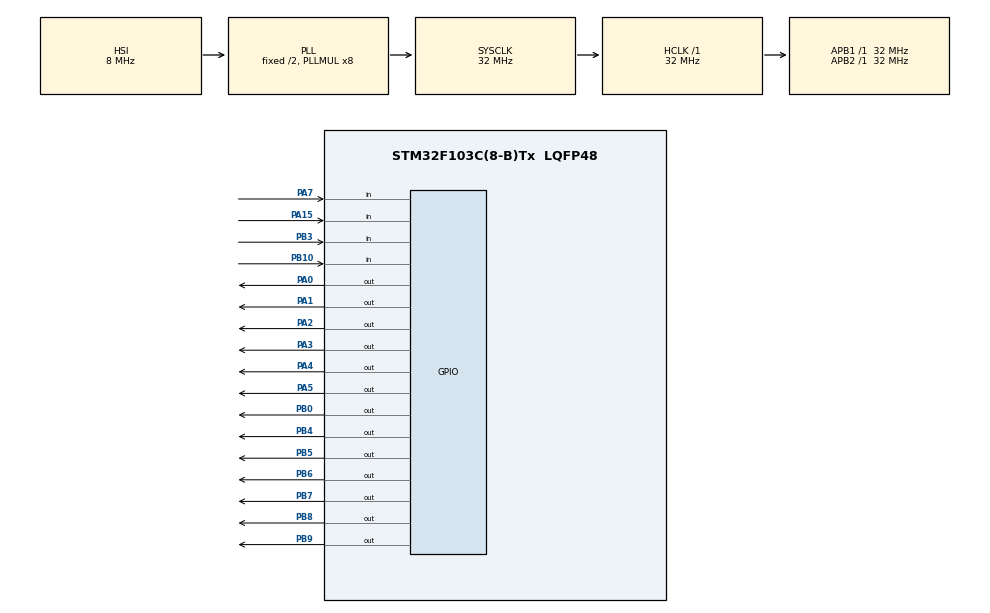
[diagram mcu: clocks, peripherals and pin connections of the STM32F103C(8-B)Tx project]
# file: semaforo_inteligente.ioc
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Mcu.Family=STM32F1
Mcu.Name=STM32F103C(8-B)Tx
Mcu.Package=LQFP48
NVIC.PriorityGroup=NVIC_PRIORITYGROUP_4
PA0-WKUP.Signal=GPIO_Output
PA1.Signal=GPIO_Output
PA13.Mode=Serial_Wire
PA13.Signal=SYS_JTMS-SWDIO
PA14.Mode=Serial_Wire
PA14.Signal=SYS_JTCK-SWCLK
PA15.GPIO_PuPd=GPIO_PULLDOWN
PA15.Signal=GPIO_Input
PA2.Signal=GPIO_Output
PA3.Signal=GPIO_Output
PA4.Signal=GPIO_Output
PA5.Signal=GPIO_Output
PA7.GPIO_PuPd=GPIO_PULLDOWN
PA7.Signal=GPIO_Input
PB0.GPIO_ModeDefaultOutputPP=GPIO_MODE_OUTPUT_OD
PB0.Signal=GPIO_Output
PB10.GPIO_PuPd=GPIO_PULLDOWN
PB10.Signal=GPIO_Input
PB3.GPIO_PuPd=GPIO_PULLDOWN
PB3.Signal=GPIO_Input
PB4.Signal=GPIO_Output
PB5.Signal=GPIO_Output
PB6.Signal=GPIO_Output
PB7.Signal=GPIO_Output
PB8.Signal=GPIO_Output
PB9.Signal=GPIO_Output
PD0-OSC_IN.Mode=HSE-External-Oscillator
PD0-OSC_IN.Signal=RCC_OSC_IN
PD1-OSC_OUT.Mode=HSE-External-Oscillator
PD1-OSC_OUT.Signal=RCC_OSC_OUT
ProjectManager.HeapSize=0x200
ProjectManager.StackSize=0x400
ProjectManager.TargetToolchain=TrueSTUDIO
RCC.AHBFreq_Value=32000000
RCC.APB1Freq_Value=32000000
RCC.APB1TimFreq_Value=32000000
RCC.APB2Freq_Value=32000000
RCC.APB2TimFreq_Value=32000000
RCC.HCLKFreq_Value=32000000
RCC.PLLMUL=RCC_PLL_MUL8
RCC.SYSCLKFreq_VALUE=32000000
RCC.SYSCLKSource=RCC_SYSCLKSOURCE_PLLCLK
RCC.USBFreq_Value=32000000
TIM2.Period=99
TIM2.Prescaler=31999
VP_TIM2_VS_ClockSourceINT.Mode=Internal
board=semaforo_inteligente

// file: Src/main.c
/**
  ******************************************************************************
  * File Name          : main.c
  * Description        : Main program body
  ******************************************************************************
  ** This notice applies to any and all portions of this file
  * that are not between comment pairs USER CODE BEGIN and
  * USER CODE END. Other portions of this file, whether
  * inserted by the user or by software development tools
  * are owned by their respective copyright owners.
  *
  * COPYRIGHT(c) 2017 STMicroelectronics
  *
  * Redistribution and use in source and binary forms, with or without modification,
  * are permitted provided that the following conditions are met:
  *   1. Redistributions of source code must retain the above copyright notice,
  *      this list of conditions and the following disclaimer.
  *   2. Redistributions in binary form must reproduce the above copyright notice,
  *      this list of conditions and the following disclaimer in the documentation
  *      and/or other materials provided with the distribution.
  *   3. Neither the name of STMicroelectronics nor the names of its contributors
  *      may be used to endorse or promote products derived from this software
  *      without specific prior written permission.
  *
  * THIS SOFTWARE IS PROVIDED BY THE COPYRIGHT HOLDERS AND CONTRIBUTORS "AS IS"
  * AND ANY EXPRESS OR IMPLIED WARRANTIES, INCLUDING, BUT NOT LIMITED TO, THE
  * IMPLIED WARRANTIES OF MERCHANTABILITY AND FITNESS FOR A PARTICULAR PURPOSE ARE
  * DISCLAIMED. IN NO EVENT SHALL THE COPYRIGHT HOLDER OR CONTRIBUTORS BE LIABLE
  * FOR ANY DIRECT, INDIRECT, INCIDENTAL, SPECIAL, EXEMPLARY, OR CONSEQUENTIAL
  * DAMAGES (INCLUDING, BUT NOT LIMITED TO, PROCUREMENT OF SUBSTITUTE GOODS OR
  * SERVICES; LOSS OF USE, DATA, OR PROFITS; OR BUSINESS INTERRUPTION) HOWEVER
  * CAUSED AND ON ANY THEORY OF LIABILITY, WHETHER IN CONTRACT, STRICT LIABILITY,
  * OR TORT (INCLUDING NEGLIGENCE OR OTHERWISE) ARISING IN ANY WAY OUT OF THE USE
  * OF THIS SOFTWARE, EVEN IF ADVISED OF THE POSSIBILITY OF SUCH DAMAGE.
  *
  ******************************************************************************
  */
#include "main.h"
#include "stm32f1xx_hal.h"
#include "tim.h"
#include "gpio.h"

int btn_s1 = 0;
int btn_s2 = 0;
int uss1_ciclos_inativo = 0;
int uss2_ciclos_inativo = 0;
int tm_frequencia = 10; // leituras por segundo
int uss1_calibragem = 1; //distancia padrao
int uss2_calibragem = 1; //distancia padrao
int uss1_fluxo = 0; //carros que cruzaram o semaforo 1
int uss2_fluxo = 0; //carros que cruzaram o semaforo 2
int uss1_resetado = 1;
int uss2_resetado = 1;
/* USER CODE BEGIN PV */
/* Private variables ---------------------------------------------------------*/

/* USER CODE END PV */

void SystemClock_Config(void);

/* USER CODE BEGIN PFP */
/* Private function prototypes -----------------------------------------------*/

/* USER CODE END PFP */

int main(void)
{

  /* MCU Configuration----------------------------------------------------------*/

  /* Reset of all peripherals, Initializes the Flash interface and the Systick. */
  HAL_Init();

  /* Configure the system clock */
  SystemClock_Config();

  /* Initialize all configured peripherals */
  MX_GPIO_Init();
  MX_TIM2_Init();

  /* USER CODE BEGIN 2 */
  HAL_TIM_Base_Start_IT(&htim2);
  /* USER CODE END 2 */

  /* Infinite loop */
  /* USER CODE BEGIN WHILE */
	HAL_GPIO_WritePin(GPIOA,GPIO_PIN_0,GPIO_PIN_SET); //S1R
	HAL_GPIO_WritePin(GPIOA,GPIO_PIN_1,GPIO_PIN_RESET); //S1Y
	HAL_GPIO_WritePin(GPIOA,GPIO_PIN_2,GPIO_PIN_RESET); //S1G
	HAL_GPIO_WritePin(GPIOA,GPIO_PIN_3,GPIO_PIN_RESET); //P1R
	HAL_GPIO_WritePin(GPIOA,GPIO_PIN_4,GPIO_PIN_SET); //P1G

	HAL_GPIO_WritePin(GPIOB,GPIO_PIN_9,GPIO_PIN_RESET); //S2R
	HAL_GPIO_WritePin(GPIOB,GPIO_PIN_8,GPIO_PIN_RESET); //S2Y
	HAL_GPIO_WritePin(GPIOB,GPIO_PIN_7,GPIO_PIN_SET); //S2G
	HAL_GPIO_WritePin(GPIOB,GPIO_PIN_6,GPIO_PIN_SET); //P2R
	HAL_GPIO_WritePin(GPIOB,GPIO_PIN_5,GPIO_PIN_RESET); //P2G
  while (1)
  {
  /* USER CODE END WHILE */
  //semaforo 1
	  for (int i = 0; i < 75000; i++){
		  // botao de pedestre precionado
		  if(btn_s1 > 0){
			  //Semaforo 1 sem trafego
			  if(uss1_ciclos_inativo/tm_frequencia > 5){
				  break;
			  }
			  //Fecha semaforo no tempo normal
			  else if(i >= 25000){
				  break;
			  }
		  }
		  //Verificação de inatividade
		  else if (uss1_ciclos_inativo/tm_frequencia > 5 && uss2_ciclos_inativo/tm_frequencia <= 5){
			  break;
		  }
		  //Verifica situação para overtime
		  else if(i >= 25000){
			  if(uss2_ciclos_inativo/tm_frequencia <= 5){
				  break;
			  }
		  }
		  Delay_Us(1000); //1ms
	  }
	  troca_semaforo(1);
	  //semaforo 2
	  for (int i = 0; i < 75000; i++){
		  // botao de pedestre precionado
		  if(btn_s2 >= 0){
			  //Semaforo 2 sem trafego
			  if(uss2_ciclos_inativo/tm_frequencia > 5){
				  break;
			  }
			  //Fecha semaforo no tempo normal
			  else if(i >= 25000){
				  break;
			  }
		  }
		  //Verificação de inatividade
		  else if (uss2_ciclos_inativo/tm_frequencia > 5 && uss1_ciclos_inativo/tm_frequencia <= 5){
			  break;
		  }
		  //Verifica situação para overtime
		  else if(i >= 25000){
			  if(uss2_ciclos_inativo/tm_frequencia <= 5){
				  break;
			  }
		  }
		  Delay_Us(1000);
	  }
	  troca_semaforo(2);
  }

}

/** System Clock Configuration
*/
void SystemClock_Config(void)
{

  RCC_OscInitTypeDef RCC_OscInitStruct;
  RCC_ClkInitTypeDef RCC_ClkInitStruct;

    /**Initializes the CPU, AHB and APB busses clocks
    */
  RCC_OscInitStruct.OscillatorType = RCC_OSCILLATORTYPE_HSI;
  RCC_OscInitStruct.HSIState = RCC_HSI_ON;
  RCC_OscInitStruct.HSICalibrationValue = 16;
  RCC_OscInitStruct.PLL.PLLState = RCC_PLL_ON;
  RCC_OscInitStruct.PLL.PLLSource = RCC_PLLSOURCE_HSI_DIV2;
  RCC_OscInitStruct.PLL.PLLMUL = RCC_PLL_MUL8;
  if (HAL_RCC_OscConfig(&RCC_OscInitStruct) != HAL_OK)
  {
    _Error_Handler(__FILE__, __LINE__);
  }

    /**Initializes the CPU, AHB and APB busses clocks
    */
  RCC_ClkInitStruct.ClockType = RCC_CLOCKTYPE_HCLK|RCC_CLOCKTYPE_SYSCLK
                              |RCC_CLOCKTYPE_PCLK1|RCC_CLOCKTYPE_PCLK2;
  RCC_ClkInitStruct.SYSCLKSource = RCC_SYSCLKSOURCE_PLLCLK;
  RCC_ClkInitStruct.AHBCLKDivider = RCC_SYSCLK_DIV1;
  RCC_ClkInitStruct.APB1CLKDivider = RCC_HCLK_DIV1;
  RCC_ClkInitStruct.APB2CLKDivider = RCC_HCLK_DIV1;

  if (HAL_RCC_ClockConfig(&RCC_ClkInitStruct, FLASH_LATENCY_1) != HAL_OK)
  {
    _Error_Handler(__FILE__, __LINE__);
  }

    /**Configure the Systick interrupt time
    */
  HAL_SYSTICK_Config(HAL_RCC_GetHCLKFreq()/1000);

    /**Configure the Systick
    */
  HAL_SYSTICK_CLKSourceConfig(SYSTICK_CLKSOURCE_HCLK);

  /* SysTick_IRQn interrupt configuration */
  HAL_NVIC_SetPriority(SysTick_IRQn, 0, 0);
}

/* USER CODE BEGIN 4 */
uint32_t getUs(void) {
	uint32_t usTicks = HAL_RCC_GetSysClockFreq() / 1000000;
	register uint32_t ms, cycle_cnt;
	do {
		ms = HAL_GetTick();
		cycle_cnt = SysTick->VAL;
	} while (ms != HAL_GetTick());

	return (ms * 1000) + (usTicks * 1000 - cycle_cnt) / usTicks;
}

void Delay_Us(uint32_t micros) {
	uint32_t start = getUs();
	while (getUs()-start < (uint32_t) micros);
}
void HAL_TIM_PeriodElapsedCallback(TIM_HandleTypeDef *htim)
{
	// faz a leitura dos botoes e dos sensores
    if (htim->Instance==TIM2)
	{
    	//envia um pulso para trigger dos sensores durante 10us
    	HAL_GPIO_WritePin(GPIOA,GPIO_PIN_5,GPIO_PIN_SET); //USS1 trigger
    	HAL_GPIO_WritePin(GPIOB,GPIO_PIN_4,GPIO_PIN_SET); //USS2 trigger
    	Delay_Us(10);
    	//conta os ciclos de echo para calcular a distancia
    	int uss1_delay = 0;
    	int uss2_delay = 0;
    	for(int i = 0; i < 60000; i++){
    		if(HAL_GPIO_ReadPin(GPIOB,GPIO_PIN_10) == GPIO_PIN_SET){
    			uss1_delay++;
    		}
    		if(HAL_GPIO_ReadPin(GPIOB,GPIO_PIN_3) == GPIO_PIN_SET){
    			uss2_delay++;
			}
    		Delay_Us(1);
    	}
    	float distancia1 = (float)(uss1_delay*343)/1000;
    	//float distancia1 = (uss1_delay*10)/55.246; //Distancia em centimetros
    	if(distancia1 > uss1_calibragem){
    		if(uss1_resetado == 1){
    			uss1_fluxo++;
    		}
    		uss1_resetado = 0;
    		uss2_ciclos_inativo = 0;
    	}
    	else{
    		uss1_resetado = 1;
    		uss1_ciclos_inativo++;
    	}
    	float distancia1 = (float)(uss2_delay*343)/1000;
    	//float distancia2 = (uss2_delay*10)/55.246;//Distancia em centimetros
		if(distancia2 > uss2_calibragem){
			if(uss2_resetado == 1){
				uss2_fluxo++;
			}
			uss2_resetado = 0;
			uss2_ciclos_inativo = 0;
		}
		else{
			uss2_resetado = 1;
			uss2_ciclos_inativo++;
		}
		// Botao do pedestre semaforo 1
		if(HAL_GPIO_ReadPin(GPIOA,GPIO_PIN_7) == GPIO_PIN_SET){
			btn_s1++;
		}
		// Botao do pedestre semaforo 2
		if(HAL_GPIO_ReadPin(GPIOA,GPIO_PIN_15) == GPIO_PIN_SET){
			btn_s2++;
		}
    	//
    	HAL_GPIO_WritePin(GPIOB,GPIO_PIN_10,GPIO_PIN_RESET);//USS1 trigger
    	HAL_GPIO_WritePin(GPIOB,GPIO_PIN_4,GPIO_PIN_RESET);//USS2 trigger*/
	}
}
void troca_semaforo(int semaforo){
	//Semaforo 1 vai para verde
	if(semaforo == 1){
		//5 segundos de amarelo
		HAL_GPIO_WritePin(GPIOB,GPIO_PIN_8,GPIO_PIN_SET); //S2Y
		HAL_GPIO_WritePin(GPIOB,GPIO_PIN_7,GPIO_PIN_RESET); //S2G
		for(int i = 0; i < 5; i++){
			HAL_GPIO_WritePin(GPIOA,GPIO_PIN_3,GPIO_PIN_SET); //P1R
			HAL_GPIO_WritePin(GPIOB,GPIO_PIN_0,GPIO_PIN_SET); //BUZ
			Delay_Us(500000);
			HAL_GPIO_WritePin(GPIOA,GPIO_PIN_3,GPIO_PIN_RESET); //P1R
			HAL_GPIO_WritePin(GPIOB,GPIO_PIN_0,GPIO_PIN_RESET); //BUZ
			Delay_Us(500000);
		}
		HAL_GPIO_WritePin(GPIOA,GPIO_PIN_2,GPIO_PIN_RESET); //S1G
		HAL_GPIO_WritePin(GPIOA,GPIO_PIN_3,GPIO_PIN_SET); //P1R
		HAL_GPIO_WritePin(GPIOA,GPIO_PIN_4,GPIO_PIN_RESET); //P1G

		HAL_GPIO_WritePin(GPIOB,GPIO_PIN_9,GPIO_PIN_SET); //S2R
		HAL_GPIO_WritePin(GPIOB,GPIO_PIN_8,GPIO_PIN_RESET); //S2Y

		Delay_Us(2000000);

		HAL_GPIO_WritePin(GPIOA,GPIO_PIN_0,GPIO_PIN_RESET); //S1R
		HAL_GPIO_WritePin(GPIOA,GPIO_PIN_2,GPIO_PIN_SET); //S1G

		HAL_GPIO_WritePin(GPIOB,GPIO_PIN_6,GPIO_PIN_RESET); //P2R
		HAL_GPIO_WritePin(GPIOB,GPIO_PIN_5,GPIO_PIN_SET); //P2G

		//reseta contador do pedestre
		btn_s1 == 0;
	}
	else if(semaforo == 2){
		HAL_GPIO_WritePin(GPIOA,GPIO_PIN_1,GPIO_PIN_SET); //S1Y
		HAL_GPIO_WritePin(GPIOA,GPIO_PIN_2,GPIO_PIN_RESET); //S1G
		for(int i = 0; i < 5; i++){
			HAL_GPIO_WritePin(GPIOB,GPIO_PIN_6,GPIO_PIN_SET); //P2R
			HAL_GPIO_WritePin(GPIOB,GPIO_PIN_0,GPIO_PIN_SET); //BUZ
			Delay_Us(500000);
			HAL_GPIO_WritePin(GPIOB,GPIO_PIN_6,GPIO_PIN_RESET); //P2R
			HAL_GPIO_WritePin(GPIOB,GPIO_PIN_0,GPIO_PIN_RESET); //BUZ
			Delay_Us(500000);
		}
		HAL_GPIO_WritePin(GPIOB,GPIO_PIN_7,GPIO_PIN_RESET); //S2G
		HAL_GPIO_WritePin(GPIOB,GPIO_PIN_6,GPIO_PIN_SET); //P2R
		HAL_GPIO_WritePin(GPIOB,GPIO_PIN_5,GPIO_PIN_RESET); //P2G

		HAL_GPIO_WritePin(GPIOA,GPIO_PIN_0,GPIO_PIN_SET); //S1R
		HAL_GPIO_WritePin(GPIOA,GPIO_PIN_1,GPIO_PIN_RESET); //S1Y

		Delay_Us(2000000);

		HAL_GPIO_WritePin(GPIOB,GPIO_PIN_9,GPIO_PIN_RESET); //S2R
		HAL_GPIO_WritePin(GPIOB,GPIO_PIN_7,GPIO_PIN_SET); //S2G

		HAL_GPIO_WritePin(GPIOA,GPIO_PIN_3,GPIO_PIN_RESET); //P1R
		HAL_GPIO_WritePin(GPIOA,GPIO_PIN_4,GPIO_PIN_SET); //P1G

		//reseta contador do pedestre
		btn_s2 == 0;
	}

}
/* USER CODE END 4 */

void _Error_Handler(char * file, int line)
{
  while(1)
  {
  }
}

/************************ (C) COPYRIGHT STMicroelectronics *****END OF FILE****/
